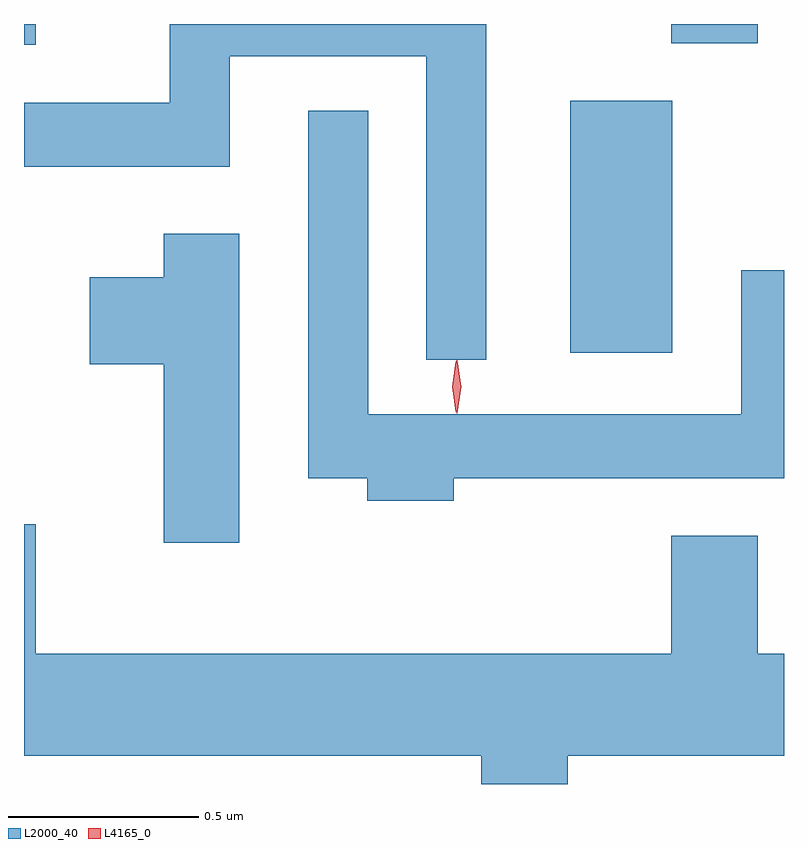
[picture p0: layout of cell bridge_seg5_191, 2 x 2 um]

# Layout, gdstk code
import gdstk
lib = gdstk.Library(unit=1e-6, precision=1e-09)
def R(c, l, rs):  # rectangles x0, y0, x1, y1
    for r in rs: c.add(gdstk.rectangle(r[:2], r[2:], *l))
def P(c, l, *ps):  # polygons
    for p in ps: c.add(gdstk.Polygon(p, *l))
L2000_40 = (2000, 40)
L4165_0 = (4165, 0)

bridge_seg5_191 = lib.new_cell('bridge_seg5_191')
R(bridge_seg5_191, L2000_40, [(1241.636,1415.676,1241.904,1416.339), (1240.198,1416.486,1240.229,1416.541), (1241.901,1416.491,1242.129,1416.541)])
P(bridge_seg5_191, L2000_40, [(1241.414,1416.541),(1240.581,1416.541),(1240.581,1416.334),(1240.198,1416.334),(1240.198,1416.166),(1240.739,1416.166),(1240.739,1416.456),(1241.256,1416.456),(1241.256,1415.658),(1241.414,1415.658)],
  [(1241.329,1415.346),(1242.198,1415.346),(1242.198,1415.893),(1242.086,1415.893),(1242.086,1415.514),(1241.104,1415.514),(1241.104,1416.313),(1240.946,1416.313),(1240.946,1415.346),(1241.101,1415.346),(1241.101,1415.286),(1241.329,1415.286)],
  [(1240.764,1415.989),(1240.566,1415.989),(1240.566,1415.874),(1240.371,1415.874),(1240.371,1415.646),(1240.566,1415.646),(1240.566,1415.176),(1240.764,1415.176)],
  [(1241.629,1414.616),(1242.198,1414.616),(1242.198,1414.884),(1242.129,1414.884),(1242.129,1415.194),(1241.901,1415.194),(1241.901,1414.884),(1240.229,1414.884),(1240.229,1415.224),(1240.198,1415.224),(1240.198,1414.616),(1241.401,1414.616),(1241.401,1414.541),(1241.629,1414.541)])
P(bridge_seg5_191, L4165_0, [(1241.337,1415.517),(1241.328,1415.587),(1241.337,1415.656),(1241.338,1415.656),(1241.338,1415.656),(1241.348,1415.587),(1241.338,1415.517),(1241.338,1415.517)],
  [(1241.334,1415.52),(1241.325,1415.586),(1241.334,1415.652),(1241.335,1415.653),(1241.336,1415.652),(1241.345,1415.586),(1241.336,1415.52),(1241.335,1415.52)])

lib.write_gds('bridge_seg5_191.gds')
